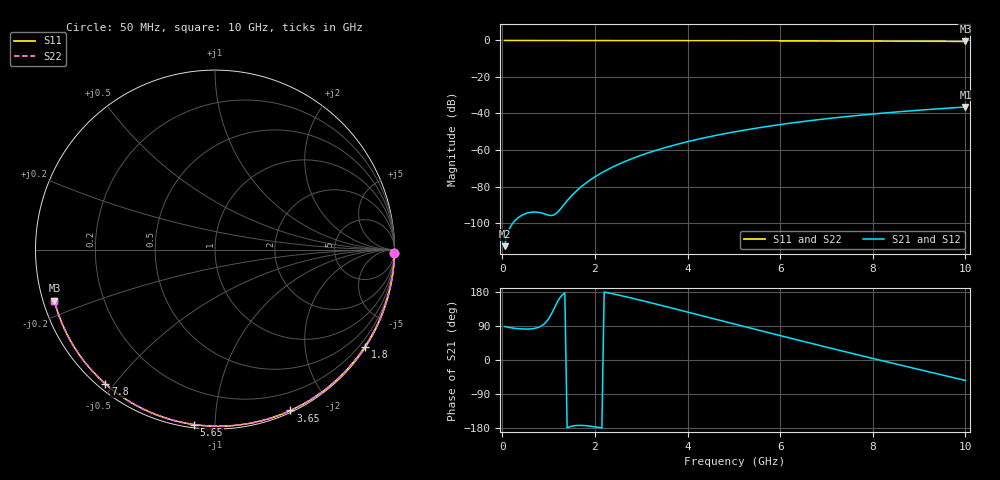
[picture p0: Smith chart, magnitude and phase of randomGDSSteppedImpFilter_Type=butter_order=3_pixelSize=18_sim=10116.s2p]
! freq	dB(S11)	phase(S11)	dB(S12)	phase(S12)
!  dB(S21)	phase(S21)	dB(S22)	phase(S22)
!S-par simulation data
#  GHz  S  DB  R 50
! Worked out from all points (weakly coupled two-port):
!   200 points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, 50 MHz to 10 GHz, reference 50 ohm
!   highest |S21| = -36.48 dB at 10 GHz (marker M1); lowest = -112.7 dB at 50 MHz (marker M2)
!   lowest |S11| = -0.5 dB at 10 GHz (marker M3), VSWR 31.91, Z = 1.6 - j7.77 ohm
!   |S11| at or under -10 dB: nowhere
!   |S22| runs from -0.5 to 0.0 dB; largest |S21 - S12| = 0
!   S11 on the Smith chart (normalised r, x): 50 MHz: open; 1.8 GHz: 0.03, -3.39; 3.65 GHz: 0.02, -1.57; 5.65 GHz: 0.02, -0.89; 7.8 GHz: 0.02, -0.47; 10 GHz: 0.03, -0.16
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0.05  -0.00 -0.9  -112.67 88.5  -112.67 88.5  -0.00 -0.9
0.45  -0.01 -8.3  -95.39 81.9  -95.39 81.9  -0.01 -8.3
0.85  -0.02 -15.7  -94.51 90.3  -94.51 90.3  -0.02 -15.7
1.7  -0.04 -31.1  -80.22 -172.6  -80.22 -172.6  -0.04 -31.1
1.75  -0.04 -32.0  -79.19 -172.8  -79.19 -172.8  -0.04 -32.0
1.8  -0.04 -32.9  -78.21 -173.2  -78.21 -173.2  -0.04 -32.9
2.1  -0.05 -38.2  -73.17 -178.4  -73.17 -178.4  -0.05 -38.2
2.3  -0.05 -41.7  -70.39 176.9  -70.39 176.9  -0.05 -41.7
2.5  -0.06 -45.2  -67.95 171.7  -67.95 171.7  -0.06 -45.2
2.9  -0.07 -52.2  -63.79 160.3  -63.79 160.3  -0.07 -52.2
3.4  -0.08 -60.7  -59.56 145.2  -59.56 145.2  -0.08 -60.7
3.65  -0.09 -64.9  -57.74 137.5  -57.74 137.5  -0.09 -64.9
4.3  -0.11 -75.6  -53.68 117.2  -53.68 117.2  -0.11 -75.6
5.05  -0.13 -87.5  -49.89 93.8  -49.89 93.8  -0.13 -87.5
5.65  -0.16 -96.9  -47.37 75.2  -47.37 75.2  -0.16 -96.9
6.15  -0.19 -104.5  -45.54 59.8  -45.54 59.8  -0.19 -104.5
6.7  -0.22 -112.8  -43.75 43.0  -43.75 43.0  -0.22 -112.8
7.25  -0.26 -121.0  -42.17 26.4  -42.17 26.4  -0.26 -121.0
7.8  -0.30 -129.2  -40.76 10.0  -40.76 10.0  -0.30 -129.2
8.35  -0.35 -137.3  -39.50 -6.2  -39.50 -6.2  -0.35 -137.3
9.2  -0.44 -150.0  -37.81 -30.9  -37.81 -30.9  -0.44 -150.0
10  -0.54 -162.3  -36.48 -53.9  -36.48 -53.9  -0.54 -162.3
